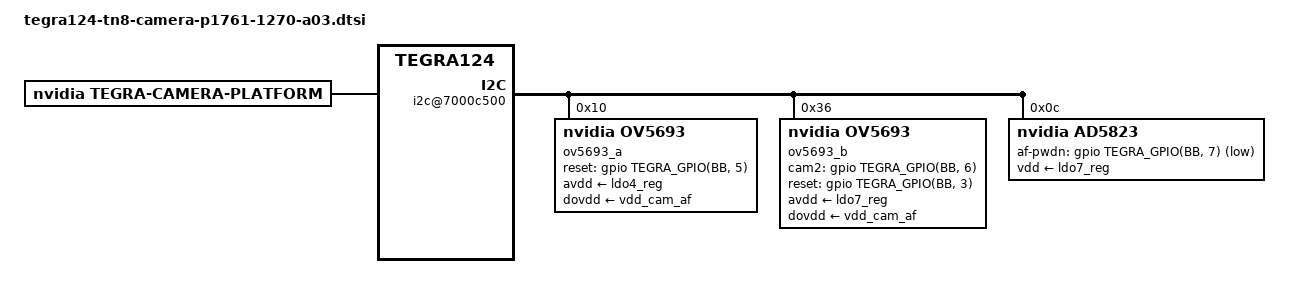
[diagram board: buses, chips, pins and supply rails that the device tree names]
/* Copyright (c) 2015-2016, NVIDIA CORPORATION.  All rights reserved.
 *
 * This program is free software; you can redistribute it and/or modify
 * it under the terms of the GNU General Public License as published by
 * the Free Software Foundation; either version 2 of the License, or
 * (at your option) any later version.
 *
 * This program is distributed in the hope that it will be useful, but WITHOUT
 * ANY WARRANTY; without even the implied warranty of MERCHANTABILITY or
 * FITNESS FOR A PARTICULAR PURPOSE.  See the GNU General Public License for
 * more details.
 *
 * You should have received a copy of the GNU General Public License along
 * with this program; if not, write to the Free Software Foundation, Inc.,
 * 51 Franklin Street, Fifth Floor, Boston, MA  02110-1301, USA.
 */

#include <dt-bindings/media/camera.h>

/ {
	i2c@7000c500 {
		#address-cells = <1>;
		#size-cells = <0>;
		status = "okay";

		ov5693_a@10 {
			compatible = "nvidia,ov5693";

			/* I2C device address */
			reg = <0x10>;

			mclk = "mclk";
			avdd-supply = <&ldo4_reg>;
			dovdd-supply = <&vdd_cam_af>;
			reset-gpios = <&gpio TEGRA_GPIO(BB, 5) 0>;
			dev_name = "ov5693";
			num = <0>;

			/* sensor capabilities */
			cap-version = <0x34340002>;
			cap-identifier = "OV5693";
			cap-sensor_nvc_interface = <3>;
			cap-pixel_types = <0x2101>;
			cap-orientation = <1>;
			cap-direction = <0>;
			cap-initial_clock_rate_khz = <6000>;
			cap-h_sync_edge = <0>;
			cap-v_sync_edge = <0>;
			cap-mclk_on_vgp0 = <0>;
			cap-csi_port = <0>;
			cap-data_lanes = <2>;
			cap-virtual_channel_id = <0>;
			cap-discontinuous_clk_mode = <1>;
			cap-cil_threshold_settle = <0>;
			cap-min_blank_time_width = <16>;
			cap-min_blank_time_height = <16>;
			cap-preferred_mode_index = <0>;
			cap-external_clock_khz_0 = <24000>;
			cap-clock_multiplier_0 = <8000000>;
			cap-external_clock_khz_1 = <0>;
			cap-clock_multiplier_1 = <0>;
			cap-hdr-enabled;
			cap-focuser_guid = <
				0x665f4144
				0x35383233
			>;
			cap-torch_guid = <
				0x6c5f4e56
				0x43414d30
			>;
		};
		ov5693_b@36 {
			compatible = "nvidia,ov5693";

			/* I2C device address */
			reg = <0x36>;

			mclk = "mclk2";
			avdd-supply = <&ldo7_reg>;
			dovdd-supply = <&vdd_cam_af>;
			cam2-gpios = <&gpio TEGRA_GPIO(BB, 6) 0>;
			reset-gpios = <&gpio TEGRA_GPIO(BB, 3) 0>;
			dev_name = "ov5693";
			num = <1>;

			/* sensor capabilities */
			cap-version = <0x34340002>;
			cap-identifier = "OV5693.1";
			cap-sensor_nvc_interface = <4>;
			cap-pixel_types = <0x2101>;
			cap-orientation = <3>;
			cap-direction = <1>;
			cap-initial_clock_rate_khz = <6000>;
			cap-h_sync_edge = <0>;
			cap-v_sync_edge = <0>;
			cap-mclk_on_vgp0 = <0>;
			cap-csi_port = <1>;
			cap-data_lanes = <2>;
			cap-virtual_channel_id = <0>;
			cap-discontinuous_clk_mode = <1>;
			cap-cil_threshold_settle = <0>;
			cap-min_blank_time_width = <16>;
			cap-min_blank_time_height = <16>;
			cap-preferred_mode_index = <0>;
			cap-external_clock_khz_0 = <24000>;
			cap-clock_multiplier_0 = <8000000>;
			cap-external_clock_khz_1 = <0>;
			cap-clock_multiplier_1 = <0>;
			cap-hdr-enabled;
		};
		ad5823@c {
			compatible = "nvidia,ad5823";

			/* I2C device address */
			reg = <0xc>;

			vdd-supply = <&ldo7_reg>;
			af-pwdn-gpios = <&gpio TEGRA_GPIO(BB, 7) 1>;
			support_mfi = "true";
		};
	};


	tegra-camera-platform {
		compatible = "nvidia, tegra-camera-platform";

		/**
		* The general guideline for naming badge_info contains 3 parts, and is as follows,
		* The first part is the camera_board_id for the module; if the module is in a FFD
		* platform, then use the platform name for this part.
		* The second part contains the position of the module, ex. rear or front.
		* The third part contains the last 6 characters of a part number which is found
		* in the module's specsheet from the vender.
		*/
		modules {
			module0 {
				badge = "tn8_a03_rear_BA519C";
				position = "rear";
				orientation = "1";
				drivernode0 {
					/* Declare PCL support driver (classically known as guid)  */
					pcl_id = "s_OV5693";
				};
				drivernode1 {
					/* Declare PCL support driver (classically known as guid)  */
					pcl_id = "v4l2_focuser_stub";
				};
				drivernode2 {
					/* Declare PCL support driver (classically known as guid)  */
					pcl_id = "f_AD5823";
				};
			};
			module1 {
				badge = "tn8_a03_front_P5V27C";
				position = "front";
				orientation = "1";
				drivernode0 {
					/* Declare PCL support driver (classically known as guid)  */
					pcl_id = "sOV5693f";
				};
			};
		};
	};
};

